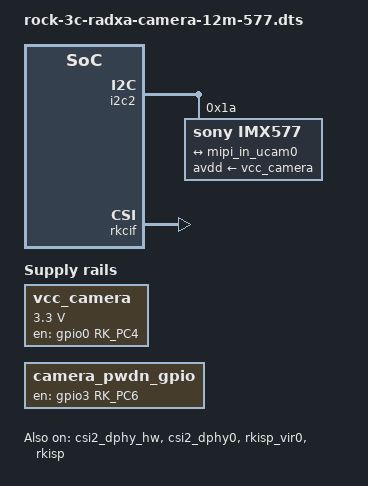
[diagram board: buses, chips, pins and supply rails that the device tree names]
/dts-v1/;
/plugin/;

#include <dt-bindings/gpio/gpio.h>
#include <dt-bindings/pinctrl/rockchip.h>

/ {
	metadata {
		title = "Enable Radxa Camera 12M 577";
		compatible = "radxa,rock-3c";
		category = "camera";
		exclusive = "GPIO0_C4", "GPIO3_C6", "csi2_dphy0", "i2c2";
		description = "Enable Radxa Camera 12M 577.";
	};
};

&{/} {
	vcc_camera: vcc-camera {
		status = "okay";
		compatible = "regulator-fixed";
		regulator-name = "vcc_camera";
		gpio = <&gpio0 RK_PC4 GPIO_ACTIVE_HIGH>;
		enable-active-high;
		regulator-min-microvolt = <3300000>;
		regulator-max-microvolt = <3300000>;
		startup-delay-us = <250000>;
		off-on-delay-us = <20000>;
	};

	camera_pwdn_gpio: camera-pwdn-gpio {
		status = "okay";
		compatible = "regulator-fixed";
		regulator-name = "camera_pwdn_gpio";
		regulator-always-on;
		regulator-boot-on;
		enable-active-high;
		gpio = <&gpio3 RK_PC6 GPIO_ACTIVE_HIGH>;
	};
};

&i2c2 {
	status = "okay";
	pinctrl-names = "default";
	pinctrl-0 = <&i2c2m1_xfer>;
	#address-cells = <1>;
	#size-cells = <0>;

	imx577: imx577@1a {
		status = "okay";
		compatible = "sony,imx577";
		reg = <0x1a>;
		avdd-supply = <&vcc_camera>;
		rockchip,camera-module-index = <0>;
		rockchip,camera-module-facing = "back";
		rockchip,camera-module-name = "RADXA-CAMERA-12M";
		rockchip,camera-module-lens-name = "default";

		port {
			imx577_out: endpoint {
				remote-endpoint = <&mipi_in_ucam0>;
				data-lanes = <1 2>;
				link-frequencies = /bits/ 64 <450000000>;
			};
		};
	};
};

&csi2_dphy_hw {
	status = "okay";
};

&csi2_dphy0 {
	status = "okay";

	ports {
		#address-cells = <1>;
		#size-cells = <0>;

		port@0 {
			reg = <0>;
			#address-cells = <1>;
			#size-cells = <0>;

			mipi_in_ucam0: endpoint@1 {
				reg = <1>;
				remote-endpoint = <&imx577_out>;
				data-lanes = <1 2>;
			};
		};

		port@1 {
			reg = <1>;
			#address-cells = <1>;
			#size-cells = <0>;

			dphy0_out: endpoint@1 {
				reg = <1>;
				remote-endpoint = <&isp0_in>;
			};
		};
	};
};

&rkisp_vir0 {
	status = "okay";

	port {
		#address-cells = <1>;
		#size-cells = <0>;

		isp0_in: endpoint@0 {
			reg = <0>;
			remote-endpoint = <&dphy0_out>;
		};
	};
};

&rkisp {
	status = "okay";
};

&rkisp_mmu {
	status = "okay";
};

&rkcif_mmu {
	status = "okay";
};

&rkcif {
	status = "okay";
};
